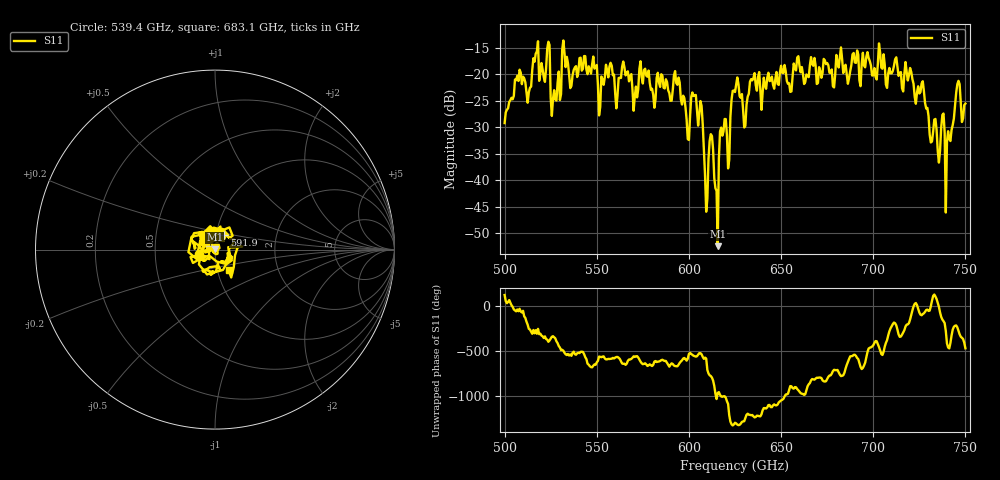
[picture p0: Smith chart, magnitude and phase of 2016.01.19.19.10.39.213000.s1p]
!Created with skrf (http://scikit-rf.org).
# GHz S RI R 50.0
!freq ReS11 ImS11
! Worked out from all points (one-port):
!   401 points, 500 GHz to 750 GHz, reference 50 ohm
!   lowest |S11| = -52.5 dB at 615.6 GHz (marker M1), VSWR 1.00, Z = 49.9 + j0.22 ohm
!   |S11| at or under -10 dB: start of sweep to end of sweep
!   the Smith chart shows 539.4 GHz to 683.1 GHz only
!   S11 on the Smith chart (normalised r, x): 539.4 GHz: 0.83, -0.04; 591.9 GHz: 1.09, +0.18; 683.1 GHz: 1.13, -0.27
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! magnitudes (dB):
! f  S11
! 500 GHz  -29.2
! 513.1 GHz  -23.4
! 516.9 GHz  -16.1
! 523.1 GHz  -15.1
! 526.2 GHz  -24.6
! 531.2 GHz  -15.3
! 539.4 GHz  -20.5
! 562.5 GHz  -20.6
! 591.9 GHz  -20.2
! 593.8 GHz  -22.0
! 599.4 GHz  -32.2
! 603.1 GHz  -23.9
! 606.9 GHz  -26.0
! 609.4 GHz  -46.0
! 611.9 GHz  -31.3
! 615.6 GHz  -52.5
! 618.1 GHz  -31.6
! 621.2 GHz  -37.8
! 625 GHz  -23.3
! 630.6 GHz  -29.7
! 634.4 GHz  -21.1
! 656.2 GHz  -20.4
! 683.1 GHz  -17.2
! 687.5 GHz  -19.4
! 718.8 GHz  -21.2
! 740.6 GHz  -30.7
! 745.6 GHz  -21.9
! 750 GHz  -25.5
